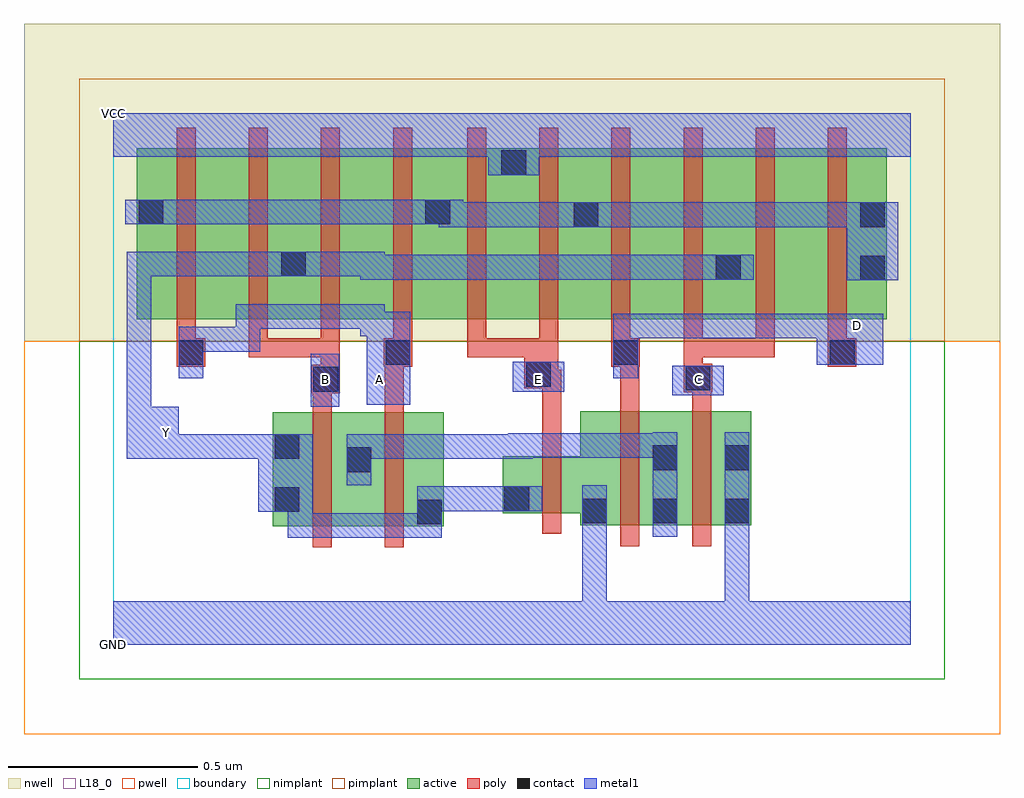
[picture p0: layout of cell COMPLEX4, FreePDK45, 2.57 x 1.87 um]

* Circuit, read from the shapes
.subckt COMPLEX4 A B C D E GND VCC Y
M1 n1 B Y VSUBS nfet w=0.3u l=0.05u
M2 Y A n1 VSUBS nfet w=0.3u l=0.05u
M3 GND E Y VSUBS nfet w=0.15u l=0.05u
M4 n1 D GND VSUBS nfet w=0.3u l=0.05u
M5 GND C n1 VSUBS nfet w=0.3u l=0.05u
M6 n2 A n3 n4 pfet w=0.45u l=0.05u
M7 Y B n2 n4 pfet w=0.45u l=0.05u
M8 n5 B Y n4 pfet w=0.45u l=0.05u
M9 n3 A n5 n4 pfet w=0.45u l=0.05u
M10 VCC E n3 n4 pfet w=0.45u l=0.05u m=2
M11 n6 D n3 n4 pfet w=0.45u l=0.05u
M12 Y C n6 n4 pfet w=0.45u l=0.05u
M13 n7 C Y n4 pfet w=0.45u l=0.05u
M14 n3 D n7 n4 pfet w=0.45u l=0.05u
.ends

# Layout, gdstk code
import gdstk
lib = gdstk.Library(unit=1e-6, precision=1e-09)
def R(c, l, rs):  # rectangles x0, y0, x1, y1
    for r in rs: c.add(gdstk.rectangle(r[:2], r[2:], *l))
def A(c, l, x, y, w, h, nx, ny, dx, dy):  # array of equal rectangles
    R(c, l, [(x+i*dx, y+j*dy, x+i*dx+w, y+j*dy+h) for i in range(nx) for j in range(ny)])
active = (1, 0)
pwell = (2, 0)
nwell = (3, 0)
nimplant = (4, 0)
pimplant = (5, 0)
poly = (9, 0)
contact = (10, 0)
metal1 = (11, 0)
L18_0 = (18, 0)
boundary = (235, 0)

complex4 = lib.new_cell('COMPLEX4')
R(complex4, active, [(0.42,0.312,0.495,0.612), (0.42,0.312,0.685,0.612), (0.61,0.312,0.87,0.612), (0.795,0.312,0.87,0.547), (1.23,0.315,1.49,0.615), (1.23,0.315,1.305,0.462), (1.415,0.315,1.68,0.615), (1.415,0.315,1.49,0.53), (1.605,0.315,1.68,0.615), (0.61,0.33,0.685,0.525), (1.025,0.347,1.305,0.497), (1.025,0.347,1.1,0.497), (0.062,0.857,0.287,1.307), (0.062,0.857,0.167,1.2), (0.287,0.857,0.512,1.307), (0.437,0.857,0.667,1.307), (0.437,0.857,0.512,1.07), (0.667,0.857,0.892,1.307), (0.817,0.857,0.892,1.2), (0.817,0.857,1.092,1.307), (1.017,0.857,1.282,1.307), (1.017,0.857,1.092,1.307), (1.207,0.857,1.282,1.2), (1.207,0.857,1.432,1.307), (1.432,0.857,1.657,1.307), (1.582,0.857,1.812,1.307), (1.582,0.857,1.657,1.07), (1.812,0.857,2.037,1.307), (1.962,0.857,2.037,1.2)])
R(complex4, pwell, [(-0.235,-0.235,2.335,0.8)])
R(complex4, nwell, [(-0.235,0.8,2.335,1.635)])
R(complex4, nimplant, [(-0.09,-0.09,2.19,0.8)])
R(complex4, pimplant, [(-0.09,0.8,2.19,1.49)])
A(complex4, poly, 0.167, 0.757, 0.05, 0.095, 4, 1, 0.19, 0)
A(complex4, poly, 0.932, 0.757, 0.05, 0.095, 6, 1, 0.19, 0)
A(complex4, poly, 0.167, 0.802, 0.05, 0.56, 4, 1, 0.19, 0)
A(complex4, poly, 0.932, 0.802, 0.05, 0.56, 6, 1, 0.19, 0)
R(complex4, poly, [(0.525,0.257,0.575,0.667), (0.715,0.257,0.765,0.667), (1.335,0.26,1.385,0.67), (1.525,0.26,1.575,0.67), (1.13,0.292,1.18,0.552), (1.13,0.502,1.18,0.725), (0.525,0.617,0.575,0.712), (0.715,0.617,0.765,0.782), (1.335,0.62,1.385,0.782), (1.525,0.62,1.575,0.715), (0.522,0.662,0.597,0.737), (1.502,0.665,1.577,0.74), (1.082,0.675,1.172,0.807), (1.122,0.675,1.172,0.725), (1.122,0.675,1.18,0.725), (0.547,0.687,0.597,0.807), (1.502,0.69,1.552,0.807), (0.167,0.732,0.242,0.807), (0.712,0.732,0.787,0.807), (0.715,0.732,0.765,0.782), (0.715,0.732,0.765,0.782), (1.312,0.732,1.387,0.807), (1.335,0.732,1.385,0.782), (1.335,0.732,1.385,0.782), (1.882,0.732,1.957,0.807), (0.357,0.757,0.597,0.807), (0.357,0.757,0.407,0.807), (0.547,0.757,0.597,0.807), (0.547,0.757,0.597,0.807), (0.547,0.757,0.597,0.807), (0.932,0.757,0.982,0.807), (0.932,0.757,0.982,0.807), (0.932,0.757,0.982,0.807), (0.932,0.757,1.132,0.807), (1.502,0.757,1.742,0.807), (1.502,0.757,1.552,0.807), (1.502,0.757,1.552,0.807), (1.502,0.757,1.552,0.807), (1.692,0.757,1.742,0.807)])
R(complex4, contact, [(0.8,0.317,0.865,0.382), (1.235,0.32,1.3,0.385), (1.42,0.32,1.485,0.385), (1.61,0.32,1.675,0.385), (0.425,0.35,0.49,0.415), (1.03,0.352,1.095,0.417), (0.615,0.455,0.68,0.52), (1.42,0.46,1.485,0.525), (1.61,0.46,1.675,0.525), (0.425,0.49,0.49,0.555), (0.527,0.667,0.592,0.732), (1.507,0.67,1.572,0.735), (1.087,0.68,1.152,0.745), (0.172,0.737,0.237,0.802), (0.717,0.737,0.782,0.802), (1.317,0.737,1.382,0.802), (1.887,0.737,1.952,0.802), (1.967,0.96,2.032,1.025), (1.587,0.962,1.652,1.027), (0.442,0.97,0.507,1.035), (1.212,1.1,1.277,1.165), (1.967,1.1,2.032,1.165), (0.067,1.107,0.132,1.172), (0.822,1.107,0.887,1.172), (1.022,1.237,1.087,1.302)])
R(complex4, metal1, [(0,0,2.1,0.115), (1.235,0.05,1.3,0.115), (1.235,0.05,1.3,0.115), (1.235,0.05,1.3,0.35), (1.61,0.05,1.675,0.35), (0.46,0.282,0.525,0.347), (0.46,0.282,0.525,0.347), (0.46,0.282,0.525,0.347), (0.46,0.282,0.715,0.347), (0.46,0.282,0.525,0.415), (0.65,0.282,0.715,0.347), (0.65,0.282,0.715,0.347), (0.65,0.282,0.715,0.347), (0.65,0.282,0.865,0.347), (0.8,0.282,0.865,0.417), (1.235,0.285,1.3,0.35), (1.235,0.285,1.3,0.35), (1.235,0.285,1.3,0.42), (1.42,0.285,1.485,0.56), (1.61,0.285,1.675,0.35), (1.61,0.285,1.675,0.35), (1.61,0.285,1.675,0.35), (1.61,0.285,1.675,0.35), (1.61,0.285,1.675,0.56), (0.382,0.35,0.525,0.555), (0.8,0.352,0.865,0.417), (0.8,0.352,0.865,0.417), (0.8,0.352,1.06,0.417), (0.995,0.352,1.13,0.417), (0.615,0.42,0.68,0.555), (0.035,0.49,0.172,0.627), (0.107,0.49,0.172,0.555), (0.107,0.49,0.172,0.555), (0.107,0.49,0.31,0.555), (0.245,0.49,0.31,0.555), (0.245,0.49,0.375,0.555), (0.31,0.49,0.375,0.555), (0.31,0.49,0.447,0.555), (0.382,0.49,0.447,0.555), (0.382,0.49,0.447,0.555), (0.615,0.49,0.68,0.555), (0.615,0.49,0.68,0.555), (0.615,0.49,0.852,0.555), (0.787,0.49,0.852,0.555), (0.787,0.49,0.852,0.555), (0.787,0.49,0.852,0.555), (0.787,0.49,1.105,0.555), (1.04,0.49,1.105,0.557), (1.04,0.492,1.105,0.557), (1.04,0.492,1.105,0.557), (1.04,0.492,1.242,0.557), (1.177,0.492,1.242,0.557), (1.177,0.492,1.242,0.557), (1.177,0.492,1.242,0.557), (1.177,0.492,1.485,0.557), (0.035,0.562,0.1,1.035), (0.52,0.627,0.595,0.767), (0.667,0.632,0.782,0.877), (1.472,0.657,1.607,0.735), (1.052,0.667,1.187,0.745), (0.172,0.702,0.237,0.837), (1.317,0.702,1.382,0.872), (1.852,0.737,2.027,0.872), (0.172,0.772,0.31,0.837), (0.245,0.772,0.31,0.837), (0.245,0.772,0.387,0.837), (0.322,0.772,0.387,0.897), (1.317,0.807,1.48,0.872), (1.415,0.807,1.48,0.872), (1.415,0.807,1.52,0.872), (1.455,0.807,1.52,0.872), (1.455,0.807,1.722,0.872), (1.657,0.807,1.722,0.872), (1.657,0.807,1.722,0.872), (1.657,0.807,1.722,0.872), (1.657,0.807,1.86,0.872), (1.795,0.807,1.86,0.872), (1.795,0.807,1.917,0.872), (0.65,0.812,0.732,0.877), (0.65,0.812,0.715,0.897), (0.322,0.832,0.447,0.897), (0.382,0.832,0.447,0.897), (0.382,0.832,0.542,0.897), (0.477,0.832,0.542,0.897), (0.477,0.832,0.715,0.897), (1.932,0.96,2.067,1.165), (0.65,0.962,0.915,1.027), (0.65,0.962,0.715,1.035), (0.85,0.962,0.915,1.027), (0.85,0.962,0.915,1.027), (0.85,0.962,0.915,1.027), (0.85,0.962,1.105,1.027), (1.04,0.962,1.105,1.027), (1.04,0.962,1.105,1.027), (1.04,0.962,1.105,1.027), (1.04,0.962,1.242,1.027), (1.177,0.962,1.242,1.027), (1.177,0.962,1.242,1.027), (1.177,0.962,1.242,1.027), (1.177,0.962,1.48,1.027), (1.415,0.962,1.48,1.027), (1.415,0.962,1.52,1.027), (1.455,0.962,1.52,1.027), (1.455,0.962,1.617,1.027), (1.552,0.962,1.687,1.027), (0.035,0.97,0.1,1.035), (0.035,0.97,0.1,1.035), (0.035,0.97,0.1,1.035), (0.035,0.97,0.1,1.035), (0.035,0.97,0.1,1.035), (0.035,0.97,0.31,1.035), (0.245,0.97,0.31,1.035), (0.245,0.97,0.375,1.035), (0.31,0.97,0.375,1.035), (0.31,0.97,0.472,1.035), (0.407,0.97,0.542,1.035), (0.477,0.97,0.542,1.035), (0.477,0.97,0.542,1.035), (0.477,0.97,0.715,1.035), (0.65,0.97,0.715,1.035), (0.65,0.97,0.715,1.035), (0.857,1.1,1.06,1.165), (0.857,1.1,0.922,1.172), (0.995,1.1,1.06,1.165), (0.995,1.1,1.06,1.165), (0.995,1.1,1.06,1.165), (0.995,1.1,1.242,1.165), (1.177,1.1,1.312,1.165), (1.247,1.1,1.312,1.165), (1.247,1.1,1.312,1.165), (1.247,1.1,1.48,1.165), (1.415,1.1,1.48,1.165), (1.415,1.1,1.52,1.165), (1.455,1.1,1.52,1.165), (1.455,1.1,1.667,1.165), (1.602,1.1,1.667,1.165), (1.602,1.1,1.667,1.165), (1.602,1.1,1.667,1.165), (1.602,1.1,1.86,1.165), (1.795,1.1,1.86,1.165), (1.795,1.1,1.86,1.165), (1.795,1.1,1.86,1.165), (1.795,1.1,1.997,1.165), (1.932,1.1,1.997,1.165), (1.932,1.1,1.997,1.165), (0.032,1.107,0.167,1.172), (0.102,1.107,0.167,1.172), (0.102,1.107,0.167,1.172), (0.102,1.107,0.31,1.172), (0.245,1.107,0.31,1.172), (0.245,1.107,0.387,1.172), (0.322,1.107,0.387,1.172), (0.322,1.107,0.542,1.172), (0.477,1.107,0.542,1.172), (0.477,1.107,0.542,1.172), (0.477,1.107,0.542,1.172), (0.477,1.107,0.715,1.172), (0.65,1.107,0.715,1.172), (0.65,1.107,0.715,1.172), (0.65,1.107,0.715,1.172), (0.65,1.107,0.852,1.172), (0.787,1.107,0.922,1.172), (0.857,1.107,0.922,1.172), (0.987,1.237,1.122,1.302), (1.057,1.237,1.122,1.35), (0,1.285,2.1,1.4)])
A(complex4, L18_0, 0.667, 0.667, 0.065, 0.065, 3, 1, 0.42, 0)
R(complex4, L18_0, [(0,0,2.1,0.115), (1.235,0.05,1.3,0.115), (1.235,0.05,1.3,0.115), (1.235,0.05,1.3,0.35), (1.61,0.05,1.675,0.35), (0.46,0.282,0.525,0.347), (0.46,0.282,0.525,0.347), (0.46,0.282,0.525,0.347), (0.46,0.282,0.525,0.415), (0.46,0.282,0.715,0.347), (0.65,0.282,0.715,0.347), (0.65,0.282,0.715,0.347), (0.65,0.282,0.715,0.347), (0.65,0.282,0.865,0.347), (0.8,0.282,0.865,0.417), (1.235,0.285,1.3,0.35), (1.235,0.285,1.3,0.35), (1.235,0.285,1.3,0.42), (1.61,0.285,1.675,0.35), (1.61,0.285,1.675,0.35), (1.61,0.285,1.675,0.35), (1.61,0.285,1.675,0.35), (1.61,0.285,1.675,0.56), (0.382,0.35,0.525,0.555), (0.8,0.352,0.865,0.417), (0.8,0.352,0.865,0.417), (0.8,0.352,1.06,0.417), (0.995,0.352,1.13,0.417), (0.035,0.49,0.172,0.627), (0.107,0.49,0.172,0.555), (0.107,0.49,0.172,0.555), (0.107,0.49,0.31,0.555), (0.245,0.49,0.31,0.555), (0.245,0.49,0.375,0.555), (0.31,0.49,0.375,0.555), (0.31,0.49,0.447,0.555), (0.382,0.49,0.447,0.555), (0.382,0.49,0.447,0.555), (0.107,0.527,0.172,0.592), (0.035,0.562,0.1,1.035), (0.52,0.627,0.595,0.767), (0.667,0.632,0.782,0.877), (1.472,0.657,1.607,0.735), (0.527,0.667,0.592,0.732), (1.052,0.667,1.187,0.745), (0.172,0.702,0.237,0.837), (1.317,0.702,1.382,0.872), (1.852,0.737,2.027,0.872), (0.172,0.772,0.31,0.837), (0.245,0.772,0.31,0.837), (0.245,0.772,0.387,0.837), (0.322,0.772,0.387,0.897), (1.317,0.807,1.48,0.872), (1.415,0.807,1.48,0.872), (1.415,0.807,1.52,0.872), (1.455,0.807,1.52,0.872), (1.455,0.807,1.722,0.872), (1.657,0.807,1.722,0.872), (1.657,0.807,1.722,0.872), (1.657,0.807,1.722,0.872), (1.657,0.807,1.86,0.872), (1.795,0.807,1.86,0.872), (1.795,0.807,1.917,0.872), (1.927,0.807,1.992,0.872), (0.65,0.812,0.715,0.897), (0.65,0.812,0.732,0.877), (0.322,0.832,0.447,0.897), (0.382,0.832,0.447,0.897), (0.382,0.832,0.542,0.897), (0.477,0.832,0.542,0.897), (0.477,0.832,0.715,0.897), (0.65,0.962,0.715,1.035), (0.65,0.962,0.915,1.027), (0.85,0.962,0.915,1.027), (0.85,0.962,0.915,1.027), (0.85,0.962,0.915,1.027), (0.85,0.962,1.105,1.027), (1.04,0.962,1.105,1.027), (1.04,0.962,1.105,1.027), (1.04,0.962,1.105,1.027), (1.04,0.962,1.242,1.027), (1.177,0.962,1.242,1.027), (1.177,0.962,1.242,1.027), (1.177,0.962,1.242,1.027), (1.177,0.962,1.48,1.027), (1.415,0.962,1.48,1.027), (1.415,0.962,1.52,1.027), (1.455,0.962,1.52,1.027), (1.455,0.962,1.617,1.027), (1.552,0.962,1.687,1.027), (0.035,0.97,0.1,1.035), (0.035,0.97,0.1,1.035), (0.035,0.97,0.1,1.035), (0.035,0.97,0.1,1.035), (0.035,0.97,0.1,1.035), (0.035,0.97,0.31,1.035), (0.245,0.97,0.31,1.035), (0.245,0.97,0.375,1.035), (0.31,0.97,0.375,1.035), (0.31,0.97,0.472,1.035), (0.407,0.97,0.542,1.035), (0.477,0.97,0.542,1.035), (0.477,0.97,0.542,1.035), (0.477,0.97,0.715,1.035), (0.65,0.97,0.715,1.035), (0.65,0.97,0.715,1.035), (0.987,1.237,1.122,1.302), (1.057,1.237,1.122,1.35), (0,1.285,2.1,1.4)])
R(complex4, boundary, [(0,0,2.1,1.4)])
complex4.add(gdstk.Label('A', (0.7,0.7), layer=11, texttype=0))
complex4.add(gdstk.Label('B', (0.56,0.7), layer=11, texttype=0))
complex4.add(gdstk.Label('C', (1.54,0.7), layer=11, texttype=0))
complex4.add(gdstk.Label('D', (1.96,0.84), layer=11, texttype=0))
complex4.add(gdstk.Label('E', (1.12,0.7), layer=11, texttype=0))
complex4.add(gdstk.Label('Y', (0.14,0.56), layer=11, texttype=0))
complex4.add(gdstk.Label('VCC', (0,1.4), layer=11, texttype=0))
complex4.add(gdstk.Label('GND', (0,0), layer=11, texttype=0))

lib.write_gds('COMPLEX4.gds')
